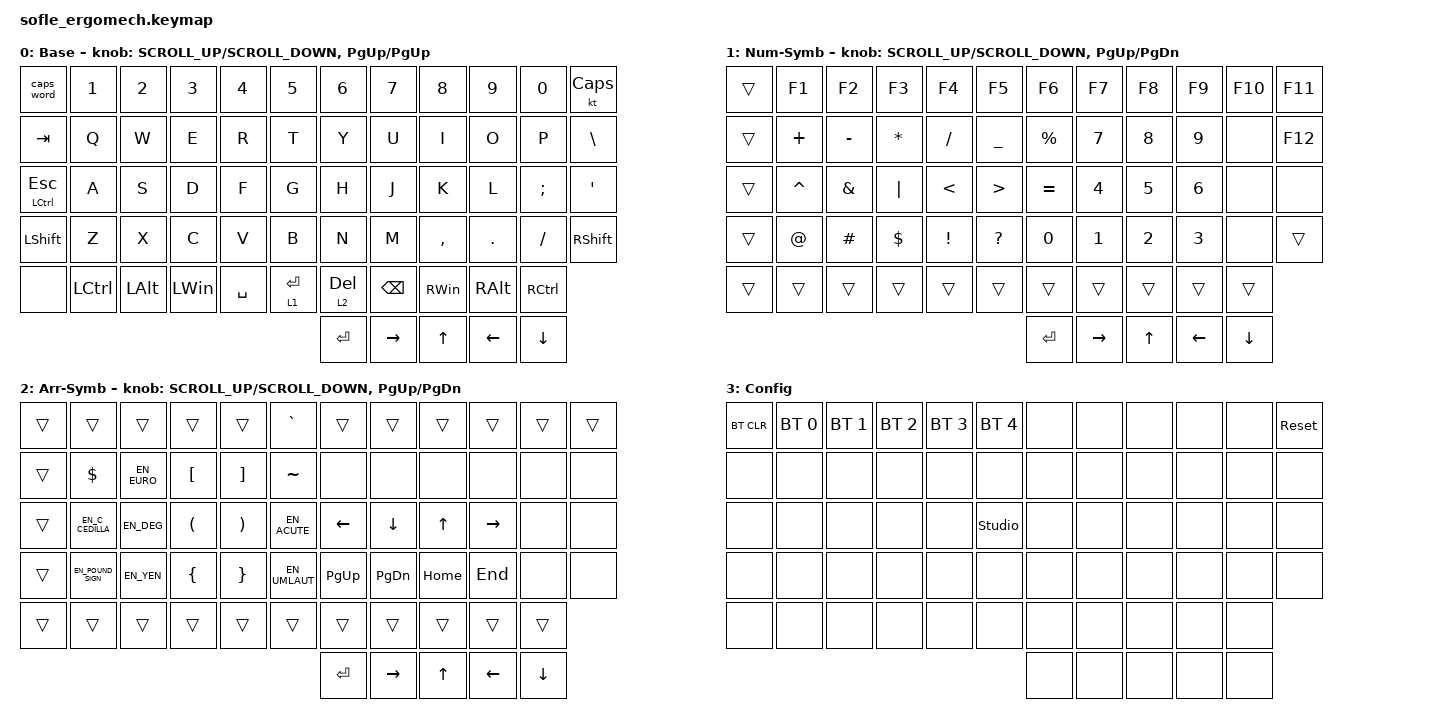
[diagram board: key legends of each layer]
/*
 * Copyright (c) 2020 The ZMK Contributors
 *
 * SPDX-License-Identifier: MIT
 */

#include "keys_us_international.h"
#include <behaviors.dtsi>
#include <dt-bindings/zmk/bt.h>
#include <dt-bindings/zmk/keys.h>

#define BASE 0
#define LOWER 1
#define RAISE 2
#define ADJUST 3

/ {
    // Activate ADJUST layer by pressing raise and lower

    conditional_layers {
        compatible = "zmk,conditional-layers";

        OSSel-BTLayer {
            if-layers = <1 2>;
            then-layer = <3>;
        };
    };

    behaviors {
        TapOrHold_ML_KP: TapOrHold_ML_KP {
            compatible = "zmk,behavior-hold-tap";
            label = "TAPORHOLD_ML_KP";
            bindings = <&mo>, <&kp>;

            #binding-cells = <2>;
            flavor = "tap-preferred";
            tapping-term-ms = <200>;
        };

        TapOrHold_KP_KP: TapOrHold_KP_KP {
            compatible = "zmk,behavior-hold-tap";
            label = "TAPORHOLD_KP_KP";
            bindings = <&kp>, <&kp>;

            #binding-cells = <2>;
            tapping-term-ms = <200>;
            flavor = "tap-preferred";
        };
    };

    keymap {
        compatible = "zmk,keymap";

        Base {
            label = "Base";

            // ------------------------------------------------------------------------------------------------------------
            // |   `   |  1  |  2  |  3   |  4   |  5   |                   |  6   |  7    |  8    |  9   |   0   |       |
            // |  ESC  |  Q  |  W  |  E   |  R   |  T   |                   |  Y   |  U    |  I    |  O   |   P   | BKSPC |
            // |  TAB  |  A  |  S  |  D   |  F   |  G   |                   |  H   |  J    |  K    |  L   |   ;   |   '   |
            // | SHIFT |  Z  |  X  |  C   |  V   |  B   |  MUTE  |  |       |  N   |  M    |  ,    |  .   |   /   | SHIFT |
            //               | GUI | ALT  | CTRL | LOWER|  ENTER |  | SPACE | RAISE| CTRL  | ALT   | GUI  |

            bindings = <
&caps_word                         &kp N1            &kp N2        &kp N3        &kp N4     &kp N5                     &kp N6                     &kp N7         &kp N8         &kp N9         &kp N0             &kt CAPSLOCK
&kp TAB                            &kp Q             &kp W         &kp E         &kp R      &kp T                      &kp Y                      &kp U          &kp I          &kp O          &kp P              &kp BACKSLASH
&TapOrHold_KP_KP LEFT_CONTROL ESC  &kp A             &kp S         &kp D         &kp F      &kp G                      &kp H                      &kp J          &kp K          &kp L          &kp SEMI           &kp SQT
&kp LSHFT                          &kp Z             &kp X         &kp C         &kp V      &kp B                      &kp N                      &kp M          &kp COMMA      &kp DOT        &kp FSLH           &kp RSHFT
&none                              &kp LEFT_CONTROL  &kp LEFT_ALT  &kp LEFT_WIN  &kp SPACE  &TapOrHold_ML_KP 1 RETURN  &TapOrHold_ML_KP 2 DELETE  &kp BACKSPACE  &kp RIGHT_WIN  &kp RIGHT_ALT  &kp RIGHT_CONTROL
                                                                                                                       &kp ENTER                  &kp RIGHT      &kp UP_ARROW   &kp LEFT       &kp DOWN
            >;

            sensor-bindings =
                <&inc_dec_kp K_SCROLL_UP K_SCROLL_DOWN>,
                <&inc_dec_kp PG_UP PG_UP>;
        };

        Num-Symb {
            label = "Num-Symb";

            // TODO: Some binds are waiting for shifted keycode support.
            // ------------------------------------------------------------------------------------------------------------
            // |       |  F1 |  F2 |  F3  |  F4  |  F5  |                   |  F6  |  F7   |  F8   |  F9  |  F10  |  F11  |
            // |   `   |  1  |  2  |  3   |  4   |  5   |                   |  6   |  7    |  8    |  9   |   0   |  F12  |
            // |       |  !  |  @  |  #   |  $   |  %   |                   |  ^   |  &    |  *    |  (   |   )   |   |   |
            // |       |  =  |  -  |  +   |  {   |  }   |        |  |       |  [   |  ]    |  ;    |  :   |   \   |       |
            //               |     |      |      |      |        |  |       |      |       |       |      |

            bindings = <
&trans  &kp F1     &kp F2         &kp F3        &kp F4           &kp F5          &kp F6       &kp F7           &kp F8        &kp F9          &kp F10         &kp F11
&trans  &kp PLUS   &kp MINUS      &kp ASTERISK  &kp SLASH        &kp UNDERSCORE  &kp PERCENT  &kp N7           &kp N8        &kp N9          &none           &kp F12
&trans  &kp CARET  &kp AMPERSAND  &kp PIPE      &kp LT           &kp GT          &kp EQUAL    &kp N4           &kp N5        &kp N6          &none           &none
&trans  &kp AT     &kp HASH       &kp DOLLAR    &kp EXCLAMATION  &kp QMARK       &kp N0       &kp N1           &kp N2        &kp N3          &none           &trans
&trans  &trans     &trans         &trans        &trans           &trans          &trans       &trans           &trans        &trans          &trans
                                                                                 &kp ENTER    &kp RIGHT_ARROW  &kp UP_ARROW  &kp LEFT_ARROW  &kp DOWN_ARROW
            >;

            sensor-bindings =
                <&inc_dec_kp K_SCROLL_UP K_SCROLL_DOWN>,
                <&inc_dec_kp PG_UP PG_DN>;
        };

        Arr-Symb {
            label = "Arr-Symb";

            // ------------------------------------------------------------------------------------------------------------
            // | BTCLR | BT1  | BT2  |  BT3  |  BT4  |  BT5 |                |      |      |       |      |       |       |
            // |       | INS  | PSCR | GUI   |       |      |                | PGUP |      |   ^   |      |       |       |
            // |       | ALT  | CTRL | SHIFT |       | CAPS |                | PGDN |   <- |   v   |  ->  |  DEL  | BKSPC |
            // |       | UNDO | CUT  | COPY  | PASTE |      |      |  |      |      |      |       |      |       |       |
            //                |      |       |       |      |      |  |      |      |      |       |      |

            bindings = <
&trans  &trans             &trans       &trans                &trans                 &kp GRAVE      &trans          &trans           &trans        &trans          &trans          &trans
&trans  &kp DOLLAR         &kp EN_EURO  &kp LEFT_BRACKET      &kp RIGHT_BRACKET      &kp TILDE      &none           &none            &none         &none           &none           &none
&trans  &kp EN_C_CEDILLA   &kp EN_DEG   &kp LEFT_PARENTHESIS  &kp RIGHT_PARENTHESIS  &kp EN_ACUTE   &kp LEFT_ARROW  &kp DOWN_ARROW   &kp UP_ARROW  &kp RIGHT       &none           &none
&trans  &kp EN_POUND_SIGN  &kp EN_YEN   &kp LEFT_BRACE        &kp RIGHT_BRACE        &kp EN_UMLAUT  &kp PAGE_UP     &kp PAGE_DOWN    &kp HOME      &kp END         &none           &none
&trans  &trans             &trans       &trans                &trans                 &trans         &trans          &trans           &trans        &trans          &trans
                                                                                                    &kp ENTER       &kp RIGHT_ARROW  &kp UP_ARROW  &kp LEFT_ARROW  &kp DOWN_ARROW
            >;

            sensor-bindings =
                <&inc_dec_kp K_SCROLL_UP K_SCROLL_DOWN>,
                <&inc_dec_kp PG_UP PG_DN>;
        };

        Config {
            // ----------------------------------------------------------------------------------------------------------------------------
            // | BTCLR  |  BT1    |  BT2    |   BT3   |   BT4   |   BT5   |                  |      |      |       |      |       |       |
            // | EXTPWR | RGB_HUD | RGB_HUI | RGB_SAD | RGB_SAI | RGB_EFF |                  |      |      |       |      |       |       |
            // |        | RGB_BRD | RGB_BRI |         |         |         |                  |      |      |       |      |       |       |
            // |        |         |         |         |         |         | RGB_TOG | |      |      |      |       |      |       |       |
            //                    |         |         |         |         |         | |      |      |      |       |      |

            label = "Config";
            bindings = <
&bt BT_CLR  &bt BT_SEL 0  &bt BT_SEL 1  &bt BT_SEL 2  &bt BT_SEL 3  &bt BT_SEL 4    &none  &none  &none  &none  &none  &sys_reset
&none       &none         &none         &none         &none         &none           &none  &none  &none  &none  &none  &none
&none       &none         &none         &none         &none         &studio_unlock  &none  &none  &none  &none  &none  &none
&none       &none         &none         &none         &none         &none           &none  &none  &none  &none  &none  &none
&none       &none         &none         &none         &none         &none           &none  &none  &none  &none  &none
                                                                                    &none  &none  &none  &none  &none
            >;
        };
    };
};
